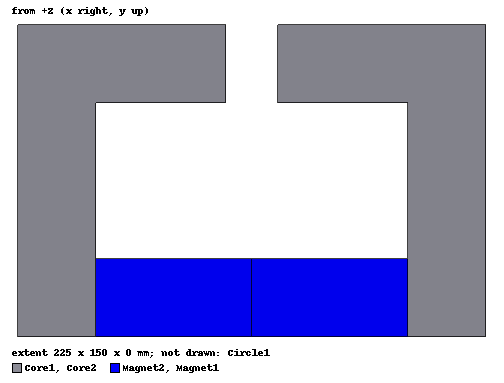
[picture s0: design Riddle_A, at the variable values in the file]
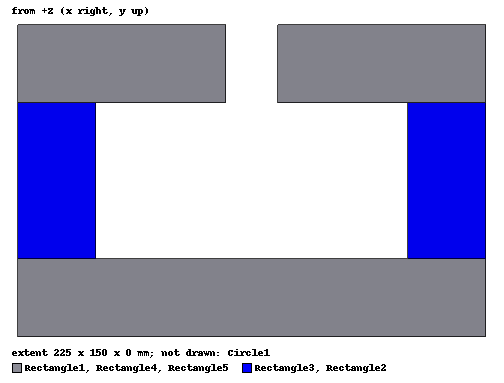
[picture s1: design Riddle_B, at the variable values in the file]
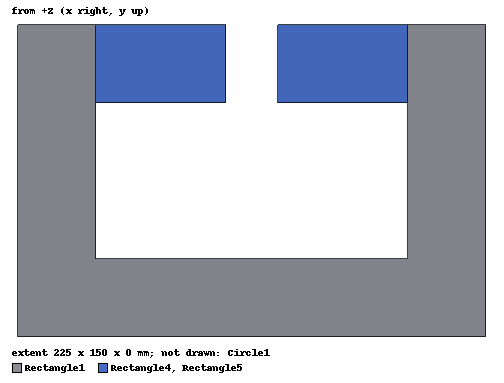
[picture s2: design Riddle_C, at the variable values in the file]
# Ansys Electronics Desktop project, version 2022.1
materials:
  vacuum: permittivity=1
  Arnold_Magnetics_N42UH_60C: permeability{HUnit=A_per_meter BUnit=tesla curve (-1620000, -2.1076) (-1612000, -1.2642) (-1604000, -1.0868) (-1582000, -0.9281) (-1563000, -0.8658) (-1544000, -0.8214) (-1525000, -0.7845) (-1506000, -0.7514) (-1487000, -0.7207) (-1468000, -0.6914) (-1449000, -0.6631) (-1430000, -0.6355) (-1411000, -0.6083) (-1392000, -0.5816) (-1373000, -0.5552) (-1354000, -0.5289) (-1334000, -0.5029) (-1315000, -0.477) (-1296000, -0.4513) (-1277000, -0.4256) (-1258000, -0.4001) (-1239000, -0.3746) (-1220000, -0.3492) (-1201000, -0.3238) (-1182000, -0.2985) (-1163000, -0.2733) (-1144000, -0.248) (-1125000, -0.2228) (-1106000, -0.1977) (-1087000, -0.1725) (-1068000, -0.1474) (-1049000, -0.1223) (-1029000, -0.0972) (-1010000, -0.0722) (-991000, -0.0471) (-972000, -0.0221) (-953000, 0.0029) (-934000, 0.0279) (-915000, 0.0529) (-896000, 0.0779) (-877000, 0.1029) (-858000, 0.1278) (-839000, 0.1528) (-820000, 0.1777) (-801000, 0.2027) (-782000, 0.2276) (-763000, 0.2526) (-743000, 0.2775) (-724000, 0.3024) (-705000, 0.3273) (-686000, 0.3522) (-667000, 0.3771) (-648000, 0.402) (-629000, 0.4269) (-610000, 0.4518) (-591000, 0.4767) (-572000, 0.5016) (-553000, 0.5264) (-534000, 0.5513) (-515000, 0.5762) (-496000, 0.6011) (-477000, 0.6259) (-458000, 0.6508) (-438000, 0.6757) (-419000, 0.7005) (-400000, 0.7254) (-381000, 0.7503) (-362000, 0.7751) (-343000, 0.8) (-324000, 0.8248) (-305000, 0.8497) (-286000, 0.8745) (-267000, 0.8994) (-248000, 0.9242) (-229000, 0.9491) (-210000, 0.9739) (-191000, 0.9988) (-172000, 1.0236) (-153000, 1.0484) (-133000, 1.0733) (-114000, 1.0981) (-95000, 1.1229) (-76000, 1.1478) (-57000, 1.1726) (-38000, 1.1975) (-19000, 1.2223) (0, 1.2471)} conductivity=555555.5556 magnetic_coercivity{Magnitude=-1005300A_per_meter DirComp1=1 DirComp2=0 DirComp3=0}
  Cogent Power - M470-50A, B-H at 50Hz: core_loss_curve{50Hz (0, 0) (0.05, 0.015) (0.1, 0.03) (0.15, 0.075) (0.2, 0.12) (0.25, 0.185) (0.3, 0.25) (0.35, 0.335) (0.4, 0.42) (0.45, 0.515) (0.5, 0.61) (0.55, 0.715) (0.6, 0.82) (0.65, 0.935) (0.7, 1.05) (0.75, 1.175) (0.8, 1.3) (0.85, 1.435) (0.9, 1.57) (0.95, 1.72) (1, 1.87) (1.05, 2.04) (1.1, 2.21) (1.15, 2.4) (1.2, 2.59) (1.25, 2.8) (1.3, 3.01) (1.35, 3.27) (1.4, 3.53) (1.45, 3.83) (1.5, 4.13) (1.55, 4.455) (1.6, 4.78) (1.65, 5.085) (1.7, 5.39) (1.75, 5.605) (1.8, 5.82)} core_loss_curve{100Hz (0, 0) (0.05, 0.13) (0.1, 0.275) (0.15, 0.42) (0.2, 0.6) (0.25, 0.78) (0.3, 0.995) (0.35, 1.21) (0.4, 1.46) (0.45, 1.71) (0.5, 1.985) (0.55, 2.26) (0.6, 2.56) (0.65, 2.86) (0.7, 3.225) (0.75, 3.59) (0.8, 3.945) (0.85, 4.3) (0.9, 4.76) (0.95, 5.22) (1, 5.63) (1.05, 6.04) (1.1, 6.665) (1.15, 7.29) (1.2, 7.805) (1.25, 8.32) (1.3, 9.02) (1.35, 9.72) (1.4, 10.56) (1.45, 11.4) (1.5, 12.24) (1.55, 13.08) (1.6, 13.92) (1.65, 14.76) (1.7, 15.6) (1.75, 16.44) (1.8, 17.5)} core_loss_curve{200Hz (0, 0) (0.05, 0.095) (0.1, 0.19) (0.15, 0.475) (0.2, 0.76) (0.25, 1.17) (0.3, 1.58) (0.35, 2.1) (0.4, 2.62) (0.45, 3.24) (0.5, 3.86) (0.55, 4.575) (0.6, 5.29) (0.65, 6.115) (0.7, 6.94) (0.75, 7.9) (0.8, 8.86) (0.85, 10.03) (0.9, 11.2) (0.95, 12.45) (1, 13.7) (1.05, 15.15) (1.1, 16.6) (1.15, 18.25) (1.2, 19.9) (1.25, 21.8) (1.3, 23.7) (1.35, 25.9) (1.4, 28.1) (1.45, 30.4) (1.5, 32.7) (1.55, 35) (1.6, 37.3) (1.65, 39.6) (1.7, 41.9) (1.75, 44.2) (1.8, 46.5)} core_loss_curve{400Hz (0, 0) (0.05, 0.26) (0.1, 0.52) (0.15, 1.25) (0.2, 1.98) (0.25, 3.07) (0.3, 4.16) (0.35, 5.53) (0.4, 6.9) (0.45, 8.6) (0.5, 10.3) (0.55, 12.3) (0.6, 14.3) (0.65, 16.75) (0.7, 19.2) (0.75, 22.2) (0.8, 25.2) (0.85, 28.75) (0.9, 32.3) (0.95, 36.45) (1, 40.6) (1.05, 45.5) (1.1, 50.4) (1.15, 56.05) (1.2, 61.7) (1.25, 68.15) (1.3, 74.6) (1.35, 82.25) (1.4, 89.9) (1.45, 97.45) (1.5, 105) (1.55, 112.55) (1.6, 120.1) (1.65, 127.65) (1.7, 135.2) (1.75, 142.75) (1.8, 150.3)} permeability{HUnit=A_per_meter BUnit=tesla curve (0, 0) (10, 0.0108503) (20, 0.0232954) (30, 0.0373355) (40, 0.0578036) (52, 0.1) (68, 0.2) (77, 0.3) (84, 0.4) (91, 0.5) (98, 0.6) (106, 0.7) (114, 0.8) (124, 0.9) (136, 1) (152, 1.1) (178, 1.2) (224, 1.3) (326, 1.4) (630, 1.5) (1612, 1.6) (3963, 1.7) (7773, 1.79456) (15000, 1.87756) (30000, 1.96508) (60000, 2.0526) (90000, 2.11709) (115000, 2.15022) (211570, 2.2752) (389240, 2.5004)} conductivity=3030300 core_loss_type="Electrical Steel" core_loss_kh=234.451 core_loss_kc=1.59627 mass_density=7650
  Arnold_Magnetics_N42UH_60C_ydirection: permeability{HUnit=A_per_meter BUnit=tesla curve (-1620000, -2.1076) (-1612000, -1.2642) (-1604000, -1.0868) (-1582000, -0.9281) (-1563000, -0.8658) (-1544000, -0.8214) (-1525000, -0.7845) (-1506000, -0.7514) (-1487000, -0.7207) (-1468000, -0.6914) (-1449000, -0.6631) (-1430000, -0.6355) (-1411000, -0.6083) (-1392000, -0.5816) (-1373000, -0.5552) (-1354000, -0.5289) (-1334000, -0.5029) (-1315000, -0.477) (-1296000, -0.4513) (-1277000, -0.4256) (-1258000, -0.4001) (-1239000, -0.3746) (-1220000, -0.3492) (-1201000, -0.3238) (-1182000, -0.2985) (-1163000, -0.2733) (-1144000, -0.248) (-1125000, -0.2228) (-1106000, -0.1977) (-1087000, -0.1725) (-1068000, -0.1474) (-1049000, -0.1223) (-1029000, -0.0972) (-1010000, -0.0722) (-991000, -0.0471) (-972000, -0.0221) (-953000, 0.0029) (-934000, 0.0279) (-915000, 0.0529) (-896000, 0.0779) (-877000, 0.1029) (-858000, 0.1278) (-839000, 0.1528) (-820000, 0.1777) (-801000, 0.2027) (-782000, 0.2276) (-763000, 0.2526) (-743000, 0.2775) (-724000, 0.3024) (-705000, 0.3273) (-686000, 0.3522) (-667000, 0.3771) (-648000, 0.402) (-629000, 0.4269) (-610000, 0.4518) (-591000, 0.4767) (-572000, 0.5016) (-553000, 0.5264) (-534000, 0.5513) (-515000, 0.5762) (-496000, 0.6011) (-477000, 0.6259) (-458000, 0.6508) (-438000, 0.6757) (-419000, 0.7005) (-400000, 0.7254) (-381000, 0.7503) (-362000, 0.7751) (-343000, 0.8) (-324000, 0.8248) (-305000, 0.8497) (-286000, 0.8745) (-267000, 0.8994) (-248000, 0.9242) (-229000, 0.9491) (-210000, 0.9739) (-191000, 0.9988) (-172000, 1.0236) (-153000, 1.0484) (-133000, 1.0733) (-114000, 1.0981) (-95000, 1.1229) (-76000, 1.1478) (-57000, 1.1726) (-38000, 1.1975) (-19000, 1.2223) (0, 1.2471)} conductivity=555555.5556 magnetic_coercivity{Magnitude=-1005300A_per_meter DirComp1=0 DirComp2=1 DirComp3=0}
  Arnold_Magnetics_N42UH_60C_ydirection_neg: permeability{HUnit=A_per_meter BUnit=tesla curve (-1620000, -2.1076) (-1612000, -1.2642) (-1604000, -1.0868) (-1582000, -0.9281) (-1563000, -0.8658) (-1544000, -0.8214) (-1525000, -0.7845) (-1506000, -0.7514) (-1487000, -0.7207) (-1468000, -0.6914) (-1449000, -0.6631) (-1430000, -0.6355) (-1411000, -0.6083) (-1392000, -0.5816) (-1373000, -0.5552) (-1354000, -0.5289) (-1334000, -0.5029) (-1315000, -0.477) (-1296000, -0.4513) (-1277000, -0.4256) (-1258000, -0.4001) (-1239000, -0.3746) (-1220000, -0.3492) (-1201000, -0.3238) (-1182000, -0.2985) (-1163000, -0.2733) (-1144000, -0.248) (-1125000, -0.2228) (-1106000, -0.1977) (-1087000, -0.1725) (-1068000, -0.1474) (-1049000, -0.1223) (-1029000, -0.0972) (-1010000, -0.0722) (-991000, -0.0471) (-972000, -0.0221) (-953000, 0.0029) (-934000, 0.0279) (-915000, 0.0529) (-896000, 0.0779) (-877000, 0.1029) (-858000, 0.1278) (-839000, 0.1528) (-820000, 0.1777) (-801000, 0.2027) (-782000, 0.2276) (-763000, 0.2526) (-743000, 0.2775) (-724000, 0.3024) (-705000, 0.3273) (-686000, 0.3522) (-667000, 0.3771) (-648000, 0.402) (-629000, 0.4269) (-610000, 0.4518) (-591000, 0.4767) (-572000, 0.5016) (-553000, 0.5264) (-534000, 0.5513) (-515000, 0.5762) (-496000, 0.6011) (-477000, 0.6259) (-458000, 0.6508) (-438000, 0.6757) (-419000, 0.7005) (-400000, 0.7254) (-381000, 0.7503) (-362000, 0.7751) (-343000, 0.8) (-324000, 0.8248) (-305000, 0.8497) (-286000, 0.8745) (-267000, 0.8994) (-248000, 0.9242) (-229000, 0.9491) (-210000, 0.9739) (-191000, 0.9988) (-172000, 1.0236) (-153000, 1.0484) (-133000, 1.0733) (-114000, 1.0981) (-95000, 1.1229) (-76000, 1.1478) (-57000, 1.1726) (-38000, 1.1975) (-19000, 1.2223) (0, 1.2471)} conductivity=555555.5556 magnetic_coercivity{Magnitude=-1005300A_per_meter DirComp1=0 DirComp2=-1 DirComp3=0}

design Riddle_A (Maxwell 2D, Magnetostatic, XY geometry, model units mm)
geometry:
  Rectangle1 = rectangle(corner=(0mm, 0mm, 0mm), x_size=37.5mm, y_size=150mm)
  Core1 [Cogent Power - M470-50A, B-H at 50Hz] = rectangle(corner=(37.5mm, 150mm, 0mm), x_size=62.5mm, y_size=-37.5mm)
  Magnet1 [Arnold_Magnetics_N42UH_60C] = rectangle(corner=(37.5mm, 0mm, 0mm), x_size=75mm, y_size=37.5mm)
  Magnet2 [Arnold_Magnetics_N42UH_60C] = rectangle(corner=(112.5mm, 0mm, 0mm), x_size=75mm, y_size=37.5mm)
  Core1.unite(Rectangle1)
  Core2 [Cogent Power - M470-50A, B-H at 50Hz] = Core1.duplicate_mirror(point=(112.5mm, 0mm, 0mm), normal=(1mm, 0mm, 0mm))
  Circle1 [vacuum] = circle(normal=Z, centre=(110mm, 70mm, 0mm), radius=219.54498mm)
  Polyline1 [non-model] = polyline((-5mm, 80mm, 0mm) (42.5mm, 80mm, 0mm))
  Polyline2 [non-model] = polyline((112.5mm, 75mm, 0mm) (112.5mm, 187.5mm, 0mm))
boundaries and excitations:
  VectorPotential1: Vector Potential Edges=Circle1.edge(1 of 1) Value=0
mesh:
  Cores: LengthBased RefineInside Objects=[Core2, Core1] MaxLength=2mm
  Magnets: LengthBased RefineInside Objects=[Magnet1, Magnet2] MaxLength=2mm
  initial mesh: MeshMethod=AnsoftTAU
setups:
  Setup1: Magnetostatic MaximumPasses=20 MinimumPasses=5 MinimumConvergedPasses=2 PercentRefinement=15 PercentError=0.1 ConstantDelta=0s NonLinearResidual=1e-07
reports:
  InsideCore: Mag_B, Mag_B, Mag_B vs Distance
  AirGap: Mag_B, Mag_B, Mag_B vs Distance

design Riddle_B (Maxwell 2D, Magnetostatic, XY geometry, model units mm)
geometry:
  Rectangle1 [Cogent Power - M470-50A, B-H at 50Hz] = rectangle(corner=(0mm, 0mm, 0mm), x_size=225mm, y_size=37.5mm)
  Rectangle2 [Arnold_Magnetics_N42UH_60C_ydirection] = rectangle(corner=(0mm, 37.5mm, 0mm), x_size=37.5mm, y_size=75mm)
  Rectangle3 [Arnold_Magnetics_N42UH_60C_ydirection_neg] = rectangle(corner=(187.5mm, 37.5mm, 0mm), x_size=37.5mm, y_size=75mm)
  Rectangle4 [Cogent Power - M470-50A, B-H at 50Hz] = rectangle(corner=(0mm, 112.5mm, 0mm), x_size=100mm, y_size=37.5mm)
  Rectangle5 [Cogent Power - M470-50A, B-H at 50Hz] = rectangle(corner=(125mm, 112.5mm, 0mm), x_size=100mm, y_size=37.5mm)
  Circle1 [vacuum] = circle(normal=Z, centre=(110mm, 70mm, 0mm), radius=219.54498mm)
  Polyline1 = polyline((112.5mm, 75mm, 0mm) (112.5mm, 187.5mm, 0mm))
  Polyline2 = polyline((112.5mm, 42.5mm, 0mm) (112.5mm, -5mm, 0mm))
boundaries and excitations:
  VectorPotential1: Vector Potential Edges=Circle1.edge(1 of 1) Value=0
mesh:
  Cores: LengthBased RefineInside Objects=[Rectangle1, Rectangle5, Rectangle4] MaxLength=2mm
  Magnets: LengthBased RefineInside Objects=[Rectangle2, Rectangle3] MaxLength=2mm
  initial mesh: MeshMethod=AnsoftTAU
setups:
  Setup1: Magnetostatic MaximumPasses=20 MinimumPasses=5 MinimumConvergedPasses=2 PercentRefinement=15 PercentError=0.1 NonLinearResidual=1e-07
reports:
  AirGap: Mag_B vs Distance on Setup1 : LastAdaptive
  InsideCore: Mag_B vs Distance on Setup1 : LastAdaptive

design Riddle_C (Maxwell 2D, Magnetostatic, XY geometry, model units mm)
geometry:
  Rectangle1 [Cogent Power - M470-50A, B-H at 50Hz] = rectangle(corner=(0mm, 0mm, 0mm), x_size=37.5mm, y_size=150mm)
  Rectangle2 = rectangle(corner=(37.5mm, 0mm, 0mm), x_size=150mm, y_size=37.5mm)
  Rectangle3 = rectangle(corner=(187.5mm, 0mm, 0mm), x_size=37.5mm, y_size=150mm)
  Rectangle4 [Arnold_Magnetics_N42UH_60C] = rectangle(corner=(37.5mm, 150mm, 0mm), x_size=62.5mm, y_size=-37.5mm)
  Rectangle5 [Arnold_Magnetics_N42UH_60C] = rectangle(corner=(125mm, 150mm, 0mm), x_size=62.5mm, y_size=-37.5mm)
  Rectangle1.unite(Rectangle2, Rectangle3)
  Circle1 [vacuum] = circle(normal=Z, centre=(110mm, 70mm, 0mm), radius=219.54498mm)
  Polyline1 [non-model] = polyline((-5mm, 80mm, 0mm) (42.5mm, 80mm, 0mm))
  Polyline2 [non-model] = polyline((112.5mm, 75mm, 0mm) (112.5mm, 187.5mm, 0mm))
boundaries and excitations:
  VectorPotential1: Vector Potential Edges=Circle1.edge(1 of 1) Value=0
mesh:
  Core: LengthBased RefineInside Objects=Rectangle1 MaxLength=2mm
  Magnets: LengthBased RefineInside Objects=[Rectangle4, Rectangle5] MaxLength=2mm
  initial mesh: MeshMethod=AnsoftTAU
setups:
  Setup1: Magnetostatic MaximumPasses=20 MinimumPasses=5 MinimumConvergedPasses=2 PercentRefinement=15 PercentError=0.1 NonLinearResidual=1e-07
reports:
  InsideCore: Mag_B vs Distance on Setup1 : LastAdaptive
  AirGap: Mag_B vs Distance on Setup1 : LastAdaptive
